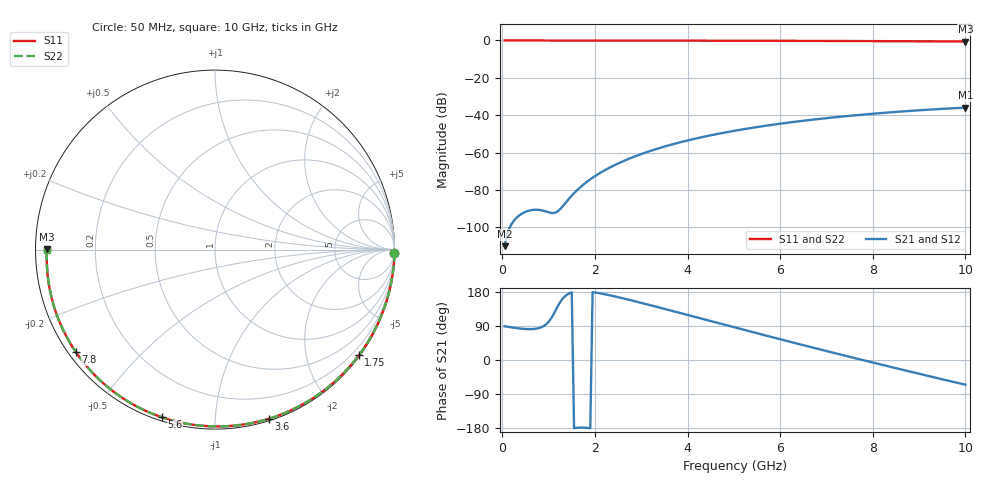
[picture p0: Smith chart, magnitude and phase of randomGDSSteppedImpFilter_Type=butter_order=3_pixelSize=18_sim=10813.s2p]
! freq	dB(S11)	phase(S11)	dB(S12)	phase(S12)
!  dB(S21)	phase(S21)	dB(S22)	phase(S22)
!S-par simulation data
#  GHz  S  DB  R 50
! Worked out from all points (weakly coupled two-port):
!   200 points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, 50 MHz to 10 GHz, reference 50 ohm
!   highest |S21| = -35.95 dB at 10 GHz (marker M1); lowest = -110.1 dB at 50 MHz (marker M2)
!   lowest |S11| = -0.6 dB at 10 GHz (marker M3), VSWR 30.32, Z = 1.65 + j0.0814 ohm
!   |S11| at or under -10 dB: nowhere
!   |S22| runs from -0.6 to 0.0 dB; largest |S21 - S12| = 0
!   S11 on the Smith chart (normalised r, x): 50 MHz: open; 1.75 GHz: 0.03, -3.05; 3.6 GHz: 0.02, -1.37; 5.6 GHz: 0.02, -0.73; 7.8 GHz: 0.02, -0.33; 10 GHz: 0.03, +0.00
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0.05  -0.00 -1.1  -110.08 89.0  -110.08 89.0  -0.00 -1.1
0.4  -0.01 -8.5  -93.03 82.9  -93.03 82.9  -0.01 -8.4
0.8  -0.02 -16.8  -90.71 84.6  -90.71 84.6  -0.02 -16.8
1.6  -0.04 -33.3  -80.48 -179.0  -80.48 -179.0  -0.04 -33.2
1.65  -0.04 -34.3  -79.31 -178.5  -79.31 -178.5  -0.04 -34.3
1.75  -0.05 -36.3  -77.15 -178.4  -77.15 -178.4  -0.05 -36.3
2.05  -0.05 -42.4  -71.82 177.3  -71.82 177.3  -0.05 -42.3
2.25  -0.06 -46.3  -68.93 172.6  -68.93 172.6  -0.06 -46.3
2.45  -0.06 -50.3  -66.41 167.3  -66.41 167.3  -0.06 -50.2
2.9  -0.08 -59.0  -61.70 153.9  -61.70 153.9  -0.08 -59.0
3.4  -0.09 -68.5  -57.53 138.2  -57.53 138.2  -0.09 -68.4
3.6  -0.10 -72.3  -56.09 131.8  -56.09 131.8  -0.10 -72.2
4.3  -0.12 -85.0  -51.81 109.2  -51.81 109.2  -0.12 -84.9
5.05  -0.15 -98.2  -48.17 85.0  -48.17 85.0  -0.15 -98.1
5.6  -0.18 -107.6  -45.96 67.4  -45.96 67.4  -0.18 -107.5
6.15  -0.21 -116.9  -44.05 50.0  -44.05 50.0  -0.21 -116.7
6.7  -0.24 -125.9  -42.38 32.9  -42.38 32.9  -0.24 -125.7
7.25  -0.28 -134.9  -40.93 16.0  -40.93 16.0  -0.28 -134.7
7.8  -0.33 -143.8  -39.64 -0.7  -39.64 -0.7  -0.33 -143.6
8.35  -0.38 -152.7  -38.52 -17.1  -38.52 -17.1  -0.38 -152.5
9.2  -0.47 -166.6  -37.05 -42.1  -37.05 -42.1  -0.47 -166.4
10  -0.57 179.8  -35.95 -65.2  -35.95 -65.2  -0.57 -179.9
